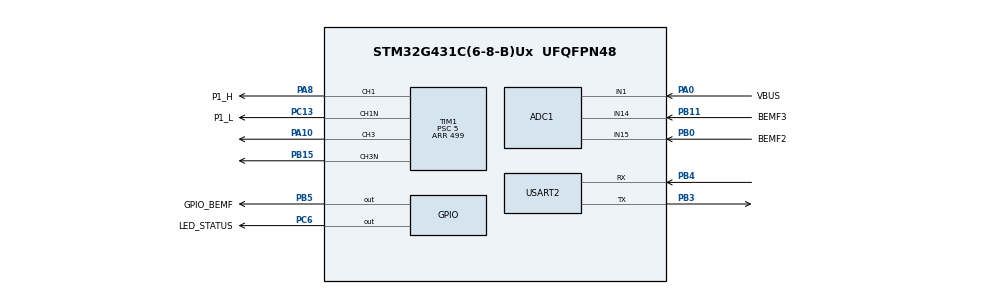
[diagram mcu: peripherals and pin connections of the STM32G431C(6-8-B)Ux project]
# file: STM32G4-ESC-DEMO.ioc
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ADC1.Channel-0\#ChannelRegularConversion=ADC_CHANNEL_1
ADC1.Channel-1\#ChannelRegularConversion=ADC_CHANNEL_14
ADC1.Channel-2\#ChannelRegularConversion=ADC_CHANNEL_15
ADC1.ContinuousConvMode=DISABLE
ADC1.DMAContinuousRequests=ENABLE
ADC1.ExternalTrigConv=ADC_EXTERNALTRIG_T1_TRGO
ADC1.NbrOfConversion=3
ADC1.NbrOfConversionFlag=1
ADC1.OffsetNumber-0\#ChannelRegularConversion=ADC_OFFSET_NONE
ADC1.OffsetNumber-1\#ChannelRegularConversion=ADC_OFFSET_NONE
ADC1.OffsetNumber-2\#ChannelRegularConversion=ADC_OFFSET_NONE
ADC1.Rank-0\#ChannelRegularConversion=1
ADC1.Rank-1\#ChannelRegularConversion=2
ADC1.Rank-2\#ChannelRegularConversion=3
ADC1.SamplingTime-0\#ChannelRegularConversion=ADC_SAMPLETIME_2CYCLES_5
ADC1.SamplingTime-1\#ChannelRegularConversion=ADC_SAMPLETIME_2CYCLES_5
ADC1.SamplingTime-2\#ChannelRegularConversion=ADC_SAMPLETIME_2CYCLES_5
ADC1.master=1
Dma.ADC1.0.Direction=DMA_PERIPH_TO_MEMORY
Dma.ADC1.0.EventEnable=DISABLE
Dma.ADC1.0.Instance=DMA1_Channel1
Dma.ADC1.0.MemDataAlignment=DMA_MDATAALIGN_HALFWORD
Dma.ADC1.0.MemInc=DMA_MINC_ENABLE
Dma.ADC1.0.Mode=DMA_CIRCULAR
Dma.ADC1.0.PeriphDataAlignment=DMA_PDATAALIGN_HALFWORD
Dma.ADC1.0.PeriphInc=DMA_PINC_DISABLE
Dma.ADC1.0.Polarity=HAL_DMAMUX_REQ_GEN_RISING
Dma.ADC1.0.Priority=DMA_PRIORITY_LOW
Dma.ADC1.0.RequestNumber=1
Dma.ADC1.0.SignalID=NONE
Dma.ADC1.0.SyncEnable=DISABLE
Dma.ADC1.0.SyncPolarity=HAL_DMAMUX_SYNC_NO_EVENT
Dma.ADC1.0.SyncRequestNumber=1
Dma.ADC1.0.SyncSignalID=NONE
Dma.Request0=ADC1
Mcu.Family=STM32G4
Mcu.Name=STM32G431C(6-8-B)Ux
Mcu.Package=UFQFPN48
NVIC.ADC1_2_IRQn=true\:0\:0\:false\:false\:true\:true\:true\:true
NVIC.DMA1_Channel1_IRQn=true\:0\:0\:false\:false\:true\:false\:true\:true
NVIC.PriorityGroup=NVIC_PRIORITYGROUP_4
PA0.GPIO_Label=VBUS
PA0.Mode=IN1-Single-Ended
PA0.Signal=ADC1_IN1
PA10.Signal=S_TIM1_CH3
PA8.GPIO_Label=P1_H
PA8.GPIO_Speed=GPIO_SPEED_FREQ_HIGH
PA8.Signal=S_TIM1_CH1
PB0.GPIO_Label=BEMF2
PB0.Mode=IN15-Single-Ended
PB0.Signal=ADC1_IN15
PB11.GPIO_Label=BEMF3
PB11.Mode=IN14-Single-Ended
PB11.Signal=ADC1_IN14
PB15.Mode=PWM Generation3 CH3 CH3N
PB15.Signal=TIM1_CH3N
PB3.Mode=Asynchronous
PB3.Signal=USART2_TX
PB4.Mode=Asynchronous
PB4.Signal=USART2_RX
PB5.GPIO_Label=GPIO_BEMF
PB5.Signal=GPIO_Output
PC13.GPIO_Label=P1_L
PC13.Mode=PWM Generation1 CH1 CH1N
PC13.Signal=TIM1_CH1N
PC6.GPIO_Label=LED_STATUS
PC6.Signal=GPIO_Output
PF0-OSC_IN.Mode=HSE-External-Oscillator
PF0-OSC_IN.Signal=RCC_OSC_IN
PF1-OSC_OUT.Mode=HSE-External-Oscillator
PF1-OSC_OUT.Signal=RCC_OSC_OUT
ProjectManager.HeapSize=0x200
ProjectManager.StackSize=0x400
ProjectManager.TargetToolchain=STM32CubeIDE
RCC.ADC12Freq_Value=120000000
RCC.AHBFreq_Value=120000000
RCC.APB1Freq_Value=120000000
RCC.APB1TimFreq_Value=120000000
RCC.APB2Freq_Value=120000000
RCC.APB2TimFreq_Value=120000000
RCC.CortexFreq_Value=120000000
RCC.EXTERNAL_CLOCK_VALUE=12288000
RCC.HCLKFreq_Value=120000000
RCC.HSE_VALUE=8000000
RCC.HSI48_VALUE=48000000
RCC.HSI_VALUE=16000000
RCC.LSE_VALUE=32768
RCC.PLLN=30
RCC.PLLSourceVirtual=RCC_PLLSOURCE_HSE
RCC.SYSCLKFreq_VALUE=120000000
RCC.SYSCLKSource=RCC_SYSCLKSOURCE_PLLCLK
RCC.USBFreq_Value=120000000
RCC.VCOOutputFreq_Value=240000000
SH.S_TIM1_CH1.0=TIM1_CH1,PWM Generation1 CH1 CH1N
SH.S_TIM1_CH3.0=TIM1_CH3,PWM Generation3 CH3 CH3N
TIM1.AsymmetricalDeadTime=DISABLE
TIM1.AutoReloadPreload=TIM_AUTORELOAD_PRELOAD_DISABLE
TIM1.AutomaticOutput=TIM_AUTOMATICOUTPUT_ENABLE
TIM1.Channel-PWM\ Generation1\ CH1\ CH1N=TIM_CHANNEL_1
TIM1.Channel-PWM\ Generation3\ CH3\ CH3N=TIM_CHANNEL_3
TIM1.Channel-PWM\ Generation4\ No\ Output=TIM_CHANNEL_4
TIM1.CounterMode=TIM_COUNTERMODE_CENTERALIGNED1
TIM1.DeadTime=20
TIM1.DeadTimePreload=DISABLE
TIM1.FallingDeadTime=20
TIM1.OCNPolarity_1=TIM_OCNPOLARITY_HIGH
TIM1.OCPolarity_4=TIM_OCPOLARITY_LOW
TIM1.PeriodNoDither=499
TIM1.Prescaler=5
TIM1.PulseNoDither_1=249
TIM1.PulseNoDither_4=498
TIM1.TIM_MasterOutputTrigger=TIM_TRGO_OC4REF
TIM1.TIM_MasterOutputTrigger2=TIM_TRGO2_UPDATE
USART2.VirtualMode-Asynchronous=VM_ASYNC
VP_TIM1_VS_ClockSourceINT.Mode=Internal
VP_TIM1_VS_no_output4.Mode=PWM Generation4 No Output
board=custom

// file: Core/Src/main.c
/* USER CODE BEGIN Header */
/**
  ******************************************************************************
  * @file           : main.c
  * @brief          : Main program body
  ******************************************************************************
  * @attention
  *
  * Copyright (c) 2023 STMicroelectronics.
  * All rights reserved.
  *
  * This software is licensed under terms that can be found in the LICENSE file
  * in the root directory of this software component.
  * If no LICENSE file comes with this software, it is provided AS-IS.
  *
  ******************************************************************************
  */
/* USER CODE END Header */
#include "main.h"
#include "adc.h"
#include "dma.h"
#include "tim.h"
#include "usart.h"
#include "gpio.h"

/* USER CODE BEGIN Includes */
#include <string.h>
#include <stdio.h>
/* USER CODE END Includes */

void SystemClock_Config(void);

/* USER CODE BEGIN 0 */
volatile uint16_t adc_dma[3];

volatile uint16_t adc_reading = 0;
void adc1_it_handler(void) {
	adc_reading = adc_dma[0];
//	adc_reading = LL_ADC_REG_ReadConversionData12(ADC1);
}
/* USER CODE END 0 */

int main(void)
{

  /* MCU Configuration--------------------------------------------------------*/

  /* Reset of all peripherals, Initializes the Flash interface and the Systick. */
  LL_APB2_GRP1_EnableClock(LL_APB2_GRP1_PERIPH_SYSCFG);
  LL_APB1_GRP1_EnableClock(LL_APB1_GRP1_PERIPH_PWR);

  /* System interrupt init*/
  NVIC_SetPriorityGrouping(NVIC_PRIORITYGROUP_4);

  /* SysTick_IRQn interrupt configuration */
  NVIC_SetPriority(SysTick_IRQn, NVIC_EncodePriority(NVIC_GetPriorityGrouping(),15, 0));

  /* Configure the system clock */
  SystemClock_Config();

  /* Initialize all configured peripherals */
  MX_GPIO_Init();
  MX_DMA_Init();
  MX_USART2_UART_Init();
  MX_ADC1_Init();
  MX_TIM1_Init();
  /* USER CODE BEGIN 2 */

  // calibrate ADC
  LL_ADC_StartCalibration(ADC1, LL_ADC_SINGLE_ENDED);

  while(LL_ADC_IsCalibrationOnGoing(ADC1)){};

  LL_ADC_Enable(ADC1);
  LL_mDelay(1000);

  LL_ADC_EnableIT_EOC(ADC1);

  // start output signal generation
  LL_TIM_CC_EnableChannel(TIM1,
		  LL_TIM_CHANNEL_CH1 | LL_TIM_CHANNEL_CH1N |
		  LL_TIM_CHANNEL_CH3 | LL_TIM_CHANNEL_CH3N
		  );

  LL_TIM_EnableCounter(TIM1);

  LL_TIM_GenerateEvent_UPDATE(TIM1);

  // set GPIO BEMF low to enable voltage divider
  LL_GPIO_ResetOutputPin(GPIO_BEMF_GPIO_Port, GPIO_BEMF_Pin);
//  LL_GPIO_SetOutputPin(GPIO_BEMF_GPIO_Port, GPIO_BEMF_Pin);

  // start regular conversions (p619, so can be triggered from timer)
  LL_ADC_REG_StartConversion(ADC1);

  // enable DMA
  LL_DMA_ConfigAddresses(DMA1, LL_DMA_CHANNEL_1, &ADC1->DR,  adc_dma, LL_DMA_DIRECTION_PERIPH_TO_MEMORY );
  LL_DMA_SetDataLength(DMA1, LL_DMA_CHANNEL_1, 3);

  LL_DMA_EnableChannel(DMA1, LL_DMA_CHANNEL_1);

  /* USER CODE END 2 */

  /* Infinite loop */
  /* USER CODE BEGIN WHILE */
  uint8_t *test = "Test 123\r\n";
  char buffer[200];
  uint8_t num = 0;
  uint16_t adc_busVoltage = 0;
  uint8_t count = 0;

  int16_t dc = 100;
  int16_t dc_inc = 10;

  LL_TIM_OC_SetCompareCH3(TIM1, 493);

  while (1)
  {
    /* USER CODE END WHILE */

    /* USER CODE BEGIN 3 */
	  LL_GPIO_TogglePin(LED_STATUS_GPIO_Port, LED_STATUS_Pin);
//	  LL_ADC_REG_StartConversion(ADC1);

//	  adc_busVoltage = adc_read_blocking();
	  adc_busVoltage = adc_dma[0];
	  // convert ADC reading into voltage
	  uint32_t adc_mV = (adc_busVoltage * 3300UL) >> 12;

	  // reverse voltage divider to get bus voltage
	  uint32_t bus_mV = (adc_mV * (100+22)) / 22;
	  num = sprintf(buffer, "%4i %4i %4i\r\n", adc_dma[0], adc_dma[1], adc_dma[2]);

//	  num = sprintf(buffer, "ADC: %4i\tADC %4i mV\t%Bus %4i mV\r\n", adc_busVoltage, adc_mV, bus_mV, count);

	  uart_tx_bytes_blocking((uint8_t*)buffer, num);

	  dc = dc+dc_inc;

	  if ((dc_inc > 0) && (dc >= 900)) {
		  dc_inc = -10;
	  }

	  else if ((dc_inc < 0) && (dc <= 100)) {
		  dc_inc = 10;
	  }
//

	  LL_TIM_OC_SetCompareCH1(TIM1, (dc * (500-1))/1000);

	  count++;
	  LL_mDelay(100);

  }
  /* USER CODE END 3 */
}

void SystemClock_Config(void)
{
  LL_FLASH_SetLatency(LL_FLASH_LATENCY_3);
  while(LL_FLASH_GetLatency() != LL_FLASH_LATENCY_3)
  {
  }
  LL_PWR_SetRegulVoltageScaling(LL_PWR_REGU_VOLTAGE_SCALE1);
  LL_RCC_HSE_Enable();
   /* Wait till HSE is ready */
  while(LL_RCC_HSE_IsReady() != 1)
  {
  }

  LL_RCC_PLL_ConfigDomain_SYS(LL_RCC_PLLSOURCE_HSE, LL_RCC_PLLM_DIV_1, 30, LL_RCC_PLLR_DIV_2);
  LL_RCC_PLL_EnableDomain_SYS();
  LL_RCC_PLL_Enable();
   /* Wait till PLL is ready */
  while(LL_RCC_PLL_IsReady() != 1)
  {
  }

  LL_RCC_SetSysClkSource(LL_RCC_SYS_CLKSOURCE_PLL);
  LL_RCC_SetAHBPrescaler(LL_RCC_SYSCLK_DIV_2);
   /* Wait till System clock is ready */
  while(LL_RCC_GetSysClkSource() != LL_RCC_SYS_CLKSOURCE_STATUS_PLL)
  {
  }

  /* Insure 1us transition state at intermediate medium speed clock*/
  for (__IO uint32_t i = (170 >> 1); i !=0; i--);

  /* Set AHB prescaler*/
  LL_RCC_SetAHBPrescaler(LL_RCC_SYSCLK_DIV_1);
  LL_RCC_SetAPB1Prescaler(LL_RCC_APB1_DIV_1);
  LL_RCC_SetAPB2Prescaler(LL_RCC_APB2_DIV_1);

  LL_Init1msTick(120000000);

  LL_SetSystemCoreClock(120000000);
}

void Error_Handler(void)
{
  __disable_irq();
  while (1)
  {
  }
}
